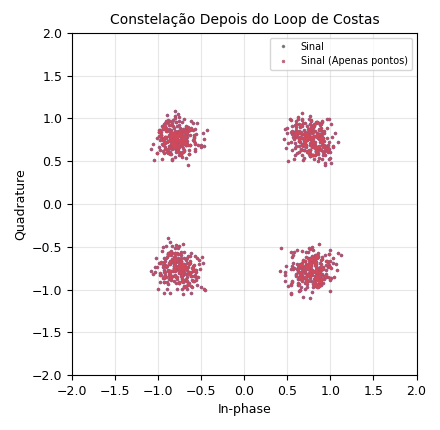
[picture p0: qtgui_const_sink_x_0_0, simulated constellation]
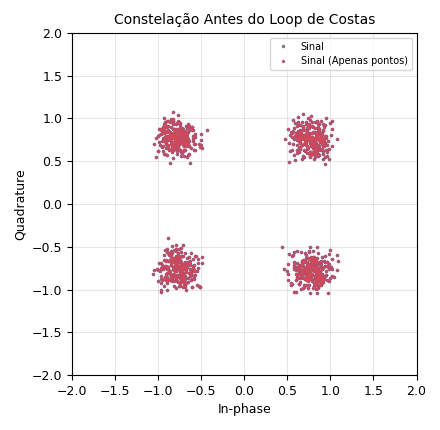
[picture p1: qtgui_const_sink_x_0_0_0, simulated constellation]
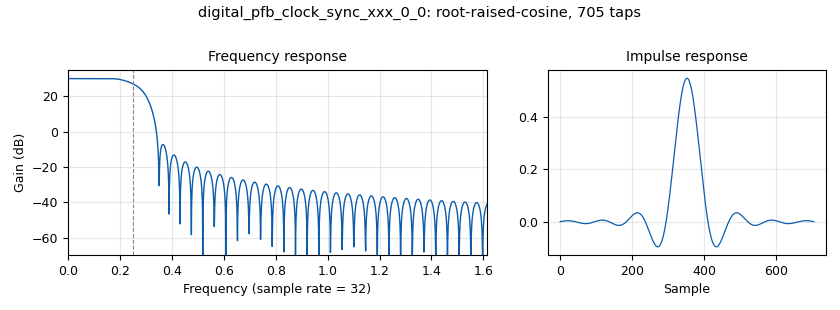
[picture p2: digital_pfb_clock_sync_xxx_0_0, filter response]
<?xml version='1.0' encoding='utf-8'?>
<?grc format='1' created='3.7.11'?>
<flow_graph>
<block>
<key>options</key>
<param><key>id</key><value>top_block</value></param>
<param><key>generate_options</key><value>qt_gui</value></param>
</block>
<block>
<key>variable_constellation</key>
<param><key>id</key><value>bpsk</value></param>
<param><key>type</key><value>qpsk</value></param>
<param><key>precision</key><value>8</value></param>
</block>
<block>
<key>variable_qtgui_range</key>
<param><key>id</key><value>epsilon</value></param>
<param><key>value</key><value>1</value></param>
<param><key>label</key><value>Timing Offset</value></param>
<param><key>orient</key><value>Qt.Horizontal</value></param>
<param><key>start</key><value>0.9</value></param>
<param><key>step</key><value>1e-3</value></param>
<param><key>stop</key><value>1.1</value></param>
</block>
<block>
<key>variable_qtgui_range</key>
<param><key>id</key><value>freq_off</value></param>
<param><key>value</key><value>0.000</value></param>
<param><key>label</key><value>Freq. Offset</value></param>
<param><key>orient</key><value>Qt.Horizontal</value></param>
<param><key>start</key><value>-100e-3</value></param>
<param><key>step</key><value>1e-3</value></param>
<param><key>stop</key><value>100e-3</value></param>
</block>
<block>
<key>variable_qtgui_range</key>
<param><key>id</key><value>noise</value></param>
<param><key>value</key><value>0.1</value></param>
<param><key>orient</key><value>Qt.Horizontal</value></param>
<param><key>start</key><value>0</value></param>
<param><key>step</key><value>0.01</value></param>
<param><key>stop</key><value>1</value></param>
</block>
<block>
<key>variable_qtgui_range</key>
<param><key>id</key><value>phase_bw</value></param>
<param><key>value</key><value>62.8e-3</value></param>
<param><key>label</key><value>Phase BW</value></param>
<param><key>orient</key><value>Qt.Horizontal</value></param>
<param><key>start</key><value>0</value></param>
<param><key>step</key><value>1e-3</value></param>
<param><key>stop</key><value>1000e-3</value></param>
</block>
<block>
<key>variable</key>
<param><key>id</key><value>rrc_taps</value></param>
<param><key>value</key><value>firdes.root_raised_cosine(32, 32, 1.0/float(2), 0.35, 11*2*32)</value></param>
</block>
<block>
<key>variable</key>
<param><key>id</key><value>samp_rate</value></param>
<param><key>value</key><value>32000</value></param>
</block>
<block>
<key>analog_random_source_x</key>
<param><key>id</key><value>analog_random_source_x_0</value></param>
<param><key>max</key><value>256</value></param>
<param><key>min</key><value>0</value></param>
<param><key>num_samps</key><value>1000</value></param>
<param><key>type</key><value>byte</value></param>
<param><key>repeat</key><value>True</value></param>
</block>
<block>
<key>blocks_throttle</key>
<param><key>id</key><value>blocks_throttle_0</value></param>
<param><key>samples_per_second</key><value>samp_rate*10</value></param>
<param><key>type</key><value>byte</value></param>
</block>
<block>
<key>channels_channel_model</key>
<param><key>id</key><value>channels_channel_model_0</value></param>
<param><key>epsilon</key><value>epsilon</value></param>
<param><key>freq_offset</key><value>freq_off</value></param>
<param><key>noise_voltage</key><value>noise</value></param>
<param><key>seed</key><value>0</value></param>
<param><key>taps</key><value>1</value></param>
</block>
<block>
<key>digital_cma_equalizer_cc</key>
<param><key>id</key><value>digital_cma_equalizer_cc_0</value></param>
<param><key>mu</key><value>0</value></param>
<param><key>modulus</key><value>1</value></param>
<param><key>num_taps</key><value>15</value></param>
<param><key>sps</key><value>2</value></param>
</block>
<block>
<key>digital_constellation_modulator</key>
<param><key>id</key><value>digital_constellation_modulator_0</value></param>
<param><key>constellation</key><value>bpsk</value></param>
<param><key>differential</key><value>True</value></param>
<param><key>excess_bw</key><value>0.35</value></param>
<param><key>samples_per_symbol</key><value>4</value></param>
</block>
<block>
<key>digital_costas_loop_cc</key>
<param><key>id</key><value>digital_costas_loop_cc_0</value></param>
<param><key>w</key><value>62.8e-3</value></param>
<param><key>order</key><value>4</value></param>
</block>
<block>
<key>digital_pfb_clock_sync_xxx</key>
<param><key>id</key><value>digital_pfb_clock_sync_xxx_0_0</value></param>
<param><key>filter_size</key><value>32</value></param>
<param><key>init_phase</key><value>16</value></param>
<param><key>loop_bw</key><value>phase_bw</value></param>
<param><key>max_dev</key><value>1.5</value></param>
<param><key>osps</key><value>2</value></param>
<param><key>sps</key><value>4</value></param>
<param><key>taps</key><value>rrc_taps</value></param>
<param><key>type</key><value>ccf</value></param>
</block>
<block>
<key>qtgui_const_sink_x</key>
<param><key>id</key><value>qtgui_const_sink_x_0_0</value></param>
<param><key>gui_hint</key><value>0, 1, 1, 1</value></param>
<param><key>label1</key><value>Sinal</value></param>
<param><key>style1</key><value>4</value></param>
<param><key>color2</key><value>"green"</value></param>
<param><key>label2</key><value>Sinal (Apenas pontos)</value></param>
<param><key>name</key><value>"Constelação Depois do Loop de Costas"</value></param>
<param><key>nconnections</key><value>2</value></param>
<param><key>size</key><value>1024</value></param>
<param><key>type</key><value>complex</value></param>
</block>
<block>
<key>qtgui_const_sink_x</key>
<param><key>id</key><value>qtgui_const_sink_x_0_0_0</value></param>
<param><key>gui_hint</key><value>0, 0, 1, 1</value></param>
<param><key>label1</key><value>Sinal</value></param>
<param><key>style1</key><value>4</value></param>
<param><key>label2</key><value>Sinal (Apenas pontos)</value></param>
<param><key>name</key><value>"Constelação Antes do Loop de Costas"</value></param>
<param><key>nconnections</key><value>2</value></param>
<param><key>size</key><value>1024</value></param>
<param><key>type</key><value>complex</value></param>
</block>
<connection><source_block_id>analog_random_source_x_0</source_block_id><sink_block_id>blocks_throttle_0</sink_block_id><source_key>0</source_key><sink_key>0</sink_key></connection>
<connection><source_block_id>blocks_throttle_0</source_block_id><sink_block_id>digital_constellation_modulator_0</sink_block_id><source_key>0</source_key><sink_key>0</sink_key></connection>
<connection><source_block_id>channels_channel_model_0</source_block_id><sink_block_id>digital_pfb_clock_sync_xxx_0_0</sink_block_id><source_key>0</source_key><sink_key>0</sink_key></connection>
<connection><source_block_id>digital_cma_equalizer_cc_0</source_block_id><sink_block_id>digital_costas_loop_cc_0</sink_block_id><source_key>0</source_key><sink_key>0</sink_key></connection>
<connection><source_block_id>digital_cma_equalizer_cc_0</source_block_id><sink_block_id>qtgui_const_sink_x_0_0_0</sink_block_id><source_key>0</source_key><sink_key>0</sink_key></connection>
<connection><source_block_id>digital_cma_equalizer_cc_0</source_block_id><sink_block_id>qtgui_const_sink_x_0_0_0</sink_block_id><source_key>0</source_key><sink_key>1</sink_key></connection>
<connection><source_block_id>digital_constellation_modulator_0</source_block_id><sink_block_id>channels_channel_model_0</sink_block_id><source_key>0</source_key><sink_key>0</sink_key></connection>
<connection><source_block_id>digital_costas_loop_cc_0</source_block_id><sink_block_id>qtgui_const_sink_x_0_0</sink_block_id><source_key>0</source_key><sink_key>0</sink_key></connection>
<connection><source_block_id>digital_costas_loop_cc_0</source_block_id><sink_block_id>qtgui_const_sink_x_0_0</sink_block_id><source_key>0</source_key><sink_key>1</sink_key></connection>
<connection><source_block_id>digital_pfb_clock_sync_xxx_0_0</source_block_id><sink_block_id>digital_cma_equalizer_cc_0</sink_block_id><source_key>0</source_key><sink_key>0</sink_key></connection>
</flow_graph>
